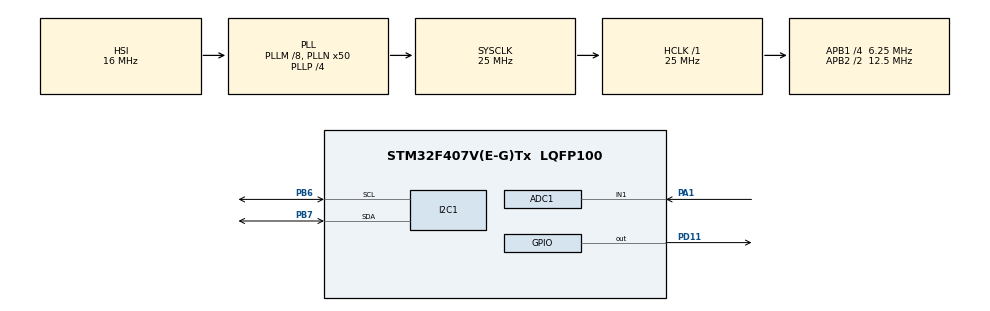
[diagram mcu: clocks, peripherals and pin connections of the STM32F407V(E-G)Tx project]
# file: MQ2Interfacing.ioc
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ADC1.Channel-0\#ChannelRegularConversion=ADC_CHANNEL_1
ADC1.InjNumberOfConversion=0
ADC1.NbrOfConversionFlag=1
ADC1.Rank-0\#ChannelRegularConversion=1
ADC1.SamplingTime-0\#ChannelRegularConversion=ADC_SAMPLETIME_3CYCLES
ADC1.master=1
Mcu.Family=STM32F4
Mcu.Name=STM32F407V(E-G)Tx
Mcu.Package=LQFP100
NVIC.ADC_IRQn=true\:0\:0\:false\:false\:true\:true\:true\:true
NVIC.I2C1_ER_IRQn=true\:0\:0\:false\:false\:true\:true\:true\:true
NVIC.I2C1_EV_IRQn=true\:0\:0\:false\:false\:true\:true\:true\:true
NVIC.PriorityGroup=NVIC_PRIORITYGROUP_0
PA1.Signal=ADCx_IN1
PB6.Mode=I2C
PB6.Signal=I2C1_SCL
PB7.Mode=I2C
PB7.Signal=I2C1_SDA
PD11.Signal=GPIO_Output
ProjectManager.HeapSize=0x200
ProjectManager.StackSize=0x400
ProjectManager.TargetToolchain=STM32CubeIDE
RCC.48MHZClocksFreq_Value=14285714.285714285
RCC.AHBFreq_Value=25000000
RCC.APB1CLKDivider=RCC_HCLK_DIV4
RCC.APB1Freq_Value=6250000
RCC.APB1TimFreq_Value=12500000
RCC.APB2CLKDivider=RCC_HCLK_DIV2
RCC.APB2Freq_Value=12500000
RCC.APB2TimFreq_Value=25000000
RCC.CortexFreq_Value=25000000
RCC.HCLKFreq_Value=25000000
RCC.HSE_VALUE=8000000
RCC.HSI_VALUE=16000000
RCC.LSE_VALUE=32768
RCC.PLLM=8
RCC.PLLN=50
RCC.PLLP=RCC_PLLP_DIV4
RCC.PLLQ=7
RCC.SYSCLKFreq_VALUE=25000000
RCC.SYSCLKSource=RCC_SYSCLKSOURCE_PLLCLK
RCC.VCOOutputFreq_Value=100000000
SH.ADCx_IN1.0=ADC1_IN1,IN1
board=STM32F407G-DISC1

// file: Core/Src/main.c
/* USER CODE BEGIN Header */
/**
  ******************************************************************************
  * @file           : main.c
  * @brief          : Main program body
  ******************************************************************************
  * @attention
  *
  * Copyright (c) 2025 STMicroelectronics.
  * All rights reserved.
  *
  * This software is licensed under terms that can be found in the LICENSE file
  * in the root directory of this software component.
  * If no LICENSE file comes with this software, it is provided AS-IS.
  *
  ******************************************************************************
  */
/* USER CODE END Header */
#include "main.h"
#include "adc.h"
#include "gpio.h"
#include "i2c.h"
#include "my_lcd.h"
/* Standard C libraries */
#include <stdio.h>      // for
#include <string.h>     // for string handling
#include <stdarg.h>

void SystemClock_Config(void);

int main(void)
{

  /* MCU Configuration--------------------------------------------------------*/

  /* Reset of all peripherals, Initializes the Flash interface and the Systick. */
  HAL_Init();

  /* Configure the system clock */
  SystemClock_Config();

  /* Initialize all configured peripherals */
  MX_GPIO_Init();
  MX_ADC1_Init();
  MX_I2C1_Init();
  /* USER CODE BEGIN 2 */
  int val;
  int threshold =1500;
  char str[32];
  if(!lcd16x2_i2c_init(&hi2c1))
  {
	  while(1);
  }

  /* USER CODE END 2 */

  /* Infinite loop */
  while (1)
  {

    /* USER CODE BEGIN 3 */
	  HAL_ADC_Start(&hadc1);
	  HAL_ADC_PollForConversion(&hadc1,HAL_MAX_DELAY);
	  val = HAL_ADC_GetValue(&hadc1);
	  HAL_ADC_Stop(&hadc1);
	  sprintf(str,"Smoke = %d",val);
	  lcd16x2_i2c_clear();
	  lcd16x2_i2c_setCursor(0, 0);
	  lcd16x2_i2c_printf(str);
	  HAL_Delay(1000);
	  if((val  > threshold)==1)
	  {
		  HAL_GPIO_WritePin(GPIOD, GPIO_PIN_11,GPIO_PIN_SET);
		  HAL_Delay(500);
		  HAL_GPIO_WritePin(GPIOD, GPIO_PIN_11,GPIO_PIN_RESET);
		  HAL_Delay(500);
	  }
  }
  /* USER CODE END 3 */
}

void SystemClock_Config(void)
{
  RCC_OscInitTypeDef RCC_OscInitStruct = {0};
  RCC_ClkInitTypeDef RCC_ClkInitStruct = {0};

  /** Configure the main internal regulator output voltage
  */
  __HAL_RCC_PWR_CLK_ENABLE();
  __HAL_PWR_VOLTAGESCALING_CONFIG(PWR_REGULATOR_VOLTAGE_SCALE1);

  /** Initializes the RCC Oscillators according to the specified parameters
  * in the RCC_OscInitTypeDef structure.
  */
  RCC_OscInitStruct.OscillatorType = RCC_OSCILLATORTYPE_HSI;
  RCC_OscInitStruct.HSIState = RCC_HSI_ON;
  RCC_OscInitStruct.HSICalibrationValue = RCC_HSICALIBRATION_DEFAULT;
  RCC_OscInitStruct.PLL.PLLState = RCC_PLL_ON;
  RCC_OscInitStruct.PLL.PLLSource = RCC_PLLSOURCE_HSI;
  RCC_OscInitStruct.PLL.PLLM = 8;
  RCC_OscInitStruct.PLL.PLLN = 50;
  RCC_OscInitStruct.PLL.PLLP = RCC_PLLP_DIV4;
  RCC_OscInitStruct.PLL.PLLQ = 7;
  if (HAL_RCC_OscConfig(&RCC_OscInitStruct) != HAL_OK)
  {
    Error_Handler();
  }

  /** Initializes the CPU, AHB and APB buses clocks
  */
  RCC_ClkInitStruct.ClockType = RCC_CLOCKTYPE_HCLK|RCC_CLOCKTYPE_SYSCLK
                              |RCC_CLOCKTYPE_PCLK1|RCC_CLOCKTYPE_PCLK2;
  RCC_ClkInitStruct.SYSCLKSource = RCC_SYSCLKSOURCE_PLLCLK;
  RCC_ClkInitStruct.AHBCLKDivider = RCC_SYSCLK_DIV1;
  RCC_ClkInitStruct.APB1CLKDivider = RCC_HCLK_DIV4;
  RCC_ClkInitStruct.APB2CLKDivider = RCC_HCLK_DIV2;

  if (HAL_RCC_ClockConfig(&RCC_ClkInitStruct, FLASH_LATENCY_0) != HAL_OK)
  {
    Error_Handler();
  }
}
